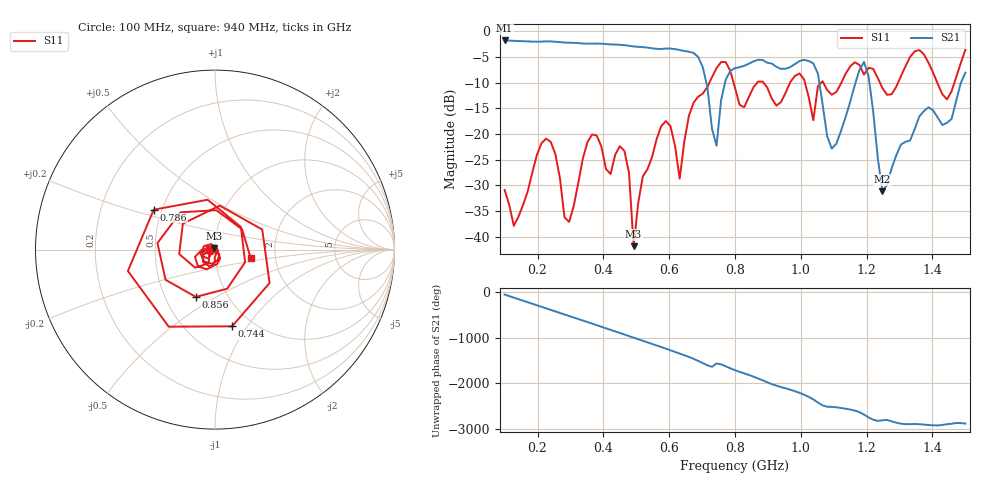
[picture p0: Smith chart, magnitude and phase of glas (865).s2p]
! NanoVNA-App
! Date: 2025-09-25 16:02:12
! Start: 100MHz Stop: 1,5GHz Points: 101
! S-Parameter data: F S11 S21 S12 S22
# Hz S RI R 50
!  Frequency  S11_Real  S11_Imag  S21_Real  S21_Imag  S12_Real  S12_Imag  S22_Real  S22_Imag
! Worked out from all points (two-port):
!   101 points, 100 MHz to 1.5 GHz, reference 50 ohm
!   highest |S21| = -1.80 dB at 100 MHz (marker M1); lowest = -31.2 dB at 1.248 GHz (marker M2)
!   |S21| within 3 dB of the highest: start of sweep to 684.4 MHz
!   lowest |S11| = -41.9 dB at 492 MHz (marker M3), VSWR 1.02, Z = 49.5 + j0.612 ohm
!   |S11| at or under -10 dB: start of sweep to 722.4 MHz; 795.5 MHz to 867.7 MHz (72.2 MHz wide, 8.68 % of centre); 886.2 MHz to 967.4 MHz (81.25 MHz wide, 8.77 % of centre) (the widest 3 of 7)
!   S12 and S22 are empty: the file has one direction only
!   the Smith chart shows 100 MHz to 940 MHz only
!   S11 on the Smith chart (normalised r, x): 100 MHz: 0.94, -0.01; 744 MHz: 0.81, -0.85; 786 MHz: 0.45, +0.24; 856 MHz: 0.71, -0.41; 940 MHz: 1.49, -0.15
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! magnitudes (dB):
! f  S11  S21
! 100 MHz  -30.9  -1.8
! 128 MHz  -37.9  -1.9
! 226 MHz  -20.9  -2.0
! 296 MHz  -37.1  -2.2
! 338 MHz  -24.7  -2.4
! 464 MHz  -23.3  -2.7
! 492 MHz  -41.9  -3.0
! 576 MHz  -18.5  -3.5
! 632 MHz  -28.7  -3.7
! 702 MHz  -12.2  -7.0
! 744 MHz  -7.2  -22.3
! 786 MHz  -7.8  -7.7
! 800 MHz  -11.0  -7.2
! 856 MHz  -10.9  -5.9
! 940 MHz  -13.8  -7.4
! 996 MHz  -8.2  -5.8
! 1.038 GHz  -17.3  -6.3
! 1.094 GHz  -12.4  -22.9
! 1.192 GHz  -8.4  -6.0
! 1.248 GHz  -11.1  -31.2
! 1.276 GHz  -12.3  -26.7
! 1.5 GHz  -3.6  -8.1
